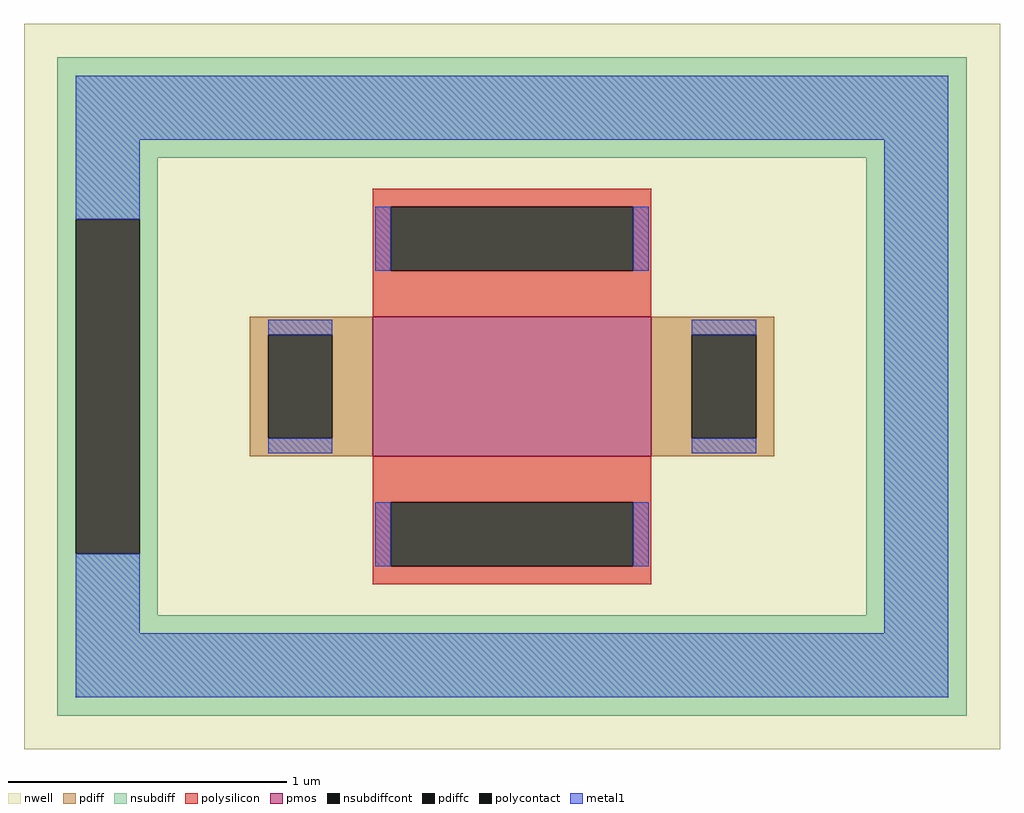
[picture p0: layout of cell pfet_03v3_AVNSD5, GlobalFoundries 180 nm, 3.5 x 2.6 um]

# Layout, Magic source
magic
tech gf180mcuD
magscale 1 10
<< nwell >>
rect -350 -260 350 260
<< pmos >>
rect -100 -50 100 50
<< pdiff >>
rect -188 37 -100 50
rect -188 -37 -175 37
rect -129 -37 -100 37
rect -188 -50 -100 -37
rect 100 37 188 50
rect 100 -37 129 37
rect 175 -37 188 37
rect 100 -50 188 -37
<< pdiffc >>
rect -175 -37 -129 37
rect 129 -37 175 37
<< nsubdiff >>
rect -326 164 326 236
rect -326 120 -254 164
rect -326 -120 -313 120
rect -267 -120 -254 120
rect -326 -164 -254 -120
rect 254 -164 326 164
rect -326 -236 326 -164
<< nsubdiffcont >>
rect -313 -120 -267 120
<< polysilicon >>
rect -100 129 100 142
rect -100 83 -87 129
rect 87 83 100 129
rect -100 50 100 83
rect -100 -83 100 -50
rect -100 -129 -87 -83
rect 87 -129 100 -83
rect -100 -142 100 -129
<< polycontact >>
rect -87 83 87 129
rect -87 -129 87 -83
<< metal1 >>
rect -313 177 313 223
rect -313 120 -267 177
rect -98 83 -87 129
rect 87 83 98 129
rect -175 37 -129 48
rect -175 -48 -129 -37
rect 129 37 175 48
rect 129 -48 175 -37
rect -313 -177 -267 -120
rect -98 -129 -87 -83
rect 87 -129 98 -83
rect 267 -177 313 177
rect -313 -223 313 -177
<< properties >>
string FIXED_BBOX -290 -200 290 200
string gencell pfet_03v3
string library gf180mcu
string parameters w 0.5 l 1 m 1 nf 1 diffcov 100 polycov 100 guard 1 glc 1 grc 0 gtc 0 gbc 0 tbcov 100 rlcov 100 topc 1 botc 1 poverlap 0 doverlap 1 lmin 0.28 wmin 0.22 class mosfet full_metal 1 compatible {pfet_03v3 pfet_05v0 pfet_06v0}
<< end >>
